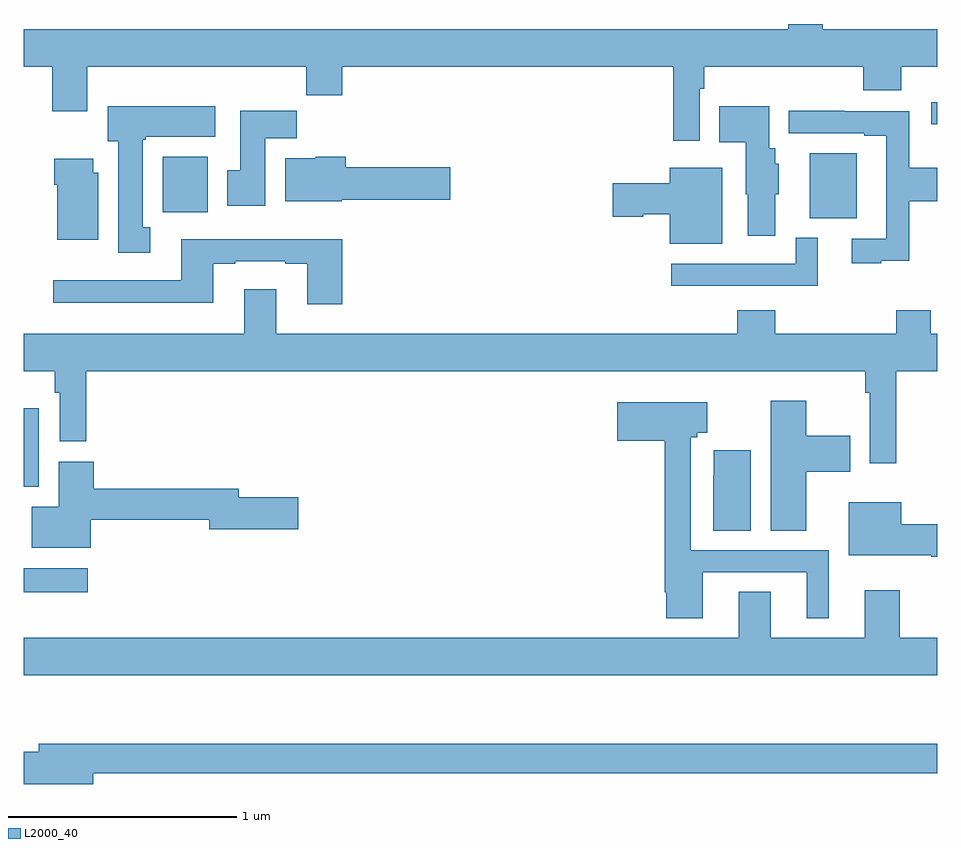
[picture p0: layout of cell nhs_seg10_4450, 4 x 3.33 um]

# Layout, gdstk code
import gdstk
lib = gdstk.Library(unit=1e-6, precision=1e-09)
def R(c, l, rs):  # rectangles x0, y0, x1, y1
    for r in rs: c.add(gdstk.rectangle(r[:2], r[2:], *l))
def P(c, l, *ps):  # polygons
    for p in ps: c.add(gdstk.Polygon(p, *l))
L2000_40 = (2000, 40)

nhs_seg10_4450 = lib.new_cell('nhs_seg10_4450')
R(nhs_seg10_4450, L2000_40, [(363,1302.011,363.28,1302.115), (363,1302.474,363.064,1302.817), (366.443,1303.649,366.649,1303.933), (363.608,1303.676,363.805,1303.918), (366.975,1304.06,367,1304.158)])
P(nhs_seg10_4450, L2000_40, [(365.961,1304.216),(365.981,1304.216),(365.981,1304.312),(366.677,1304.312),(366.677,1304.21),(366.842,1304.21),(366.842,1304.312),(367,1304.312),(367,1304.476),(366.499,1304.476),(366.499,1304.5),(366.347,1304.5),(366.347,1304.476),(363,1304.476),(363,1304.312),(363.125,1304.312),(363.125,1304.118),(363.277,1304.118),(363.277,1304.312),(364.237,1304.312),(364.237,1304.188),(364.394,1304.188),(364.394,1304.312),(365.845,1304.312),(365.845,1303.989),(365.961,1303.989)],
  [(366.292,1303.755),(366.307,1303.755),(366.307,1303.887),(366.292,1303.887),(366.292,1303.956),(366.265,1303.956),(366.265,1304.14),(366.046,1304.14),(366.046,1303.982),(366.161,1303.982),(366.161,1303.755),(366.17,1303.755),(366.17,1303.572),(366.292,1303.572)],
  [(363.553,1303.61),(363.52,1303.61),(363.52,1303.993),(363.534,1303.993),(363.534,1304.006),(363.838,1304.006),(363.838,1304.14),(363.368,1304.14),(363.368,1303.986),(363.413,1303.986),(363.413,1303.497),(363.553,1303.497)],
  [(366.755,1303.463),(366.878,1303.463),(366.878,1303.723),(367,1303.723),(367,1303.87),(366.878,1303.87),(366.878,1304.118),(366.593,1304.118),(366.593,1304.12),(366.351,1304.12),(366.351,1304.022),(366.68,1304.022),(366.68,1304.01),(366.777,1304.01),(366.777,1303.56),(366.627,1303.56),(366.627,1303.452),(366.755,1303.452)],
  [(364.057,1304),(364.196,1304),(364.196,1304.119),(363.947,1304.119),(363.947,1303.86),(363.89,1303.86),(363.89,1303.704),(364.057,1303.704)],
  [(364.392,1303.73),(364.867,1303.73),(364.867,1303.872),(364.409,1303.872),(364.409,1303.918),(364.278,1303.918),(364.278,1303.912),(364.145,1303.912),(364.145,1303.724),(364.392,1303.724)],
  [(363.325,1303.848),(363.304,1303.848),(363.304,1303.909),(363.134,1303.909),(363.134,1303.796),(363.146,1303.796),(363.146,1303.556),(363.325,1303.556)],
  [(366.058,1303.87),(365.828,1303.87),(365.828,1303.802),(365.58,1303.802),(365.58,1303.655),(365.712,1303.655),(365.712,1303.667),(365.828,1303.667),(365.828,1303.538),(366.058,1303.538)],
  [(366.478,1303.564),(366.381,1303.564),(366.381,1303.449),(365.835,1303.449),(365.835,1303.353),(366.478,1303.353)],
  [(364.394,1303.558),(363.689,1303.558),(363.689,1303.377),(363.129,1303.377),(363.129,1303.28),(363.829,1303.28),(363.829,1303.449),(363.925,1303.449),(363.925,1303.461),(364.145,1303.461),(364.145,1303.449),(364.241,1303.449),(364.241,1303.272),(364.394,1303.272)],
  [(366.821,1302.98),(367,1302.98),(367,1303.144),(366.973,1303.144),(366.973,1303.246),(366.821,1303.246),(366.821,1303.144),(366.29,1303.144),(366.29,1303.246),(366.125,1303.246),(366.125,1303.144),(364.105,1303.144),(364.105,1303.339),(363.965,1303.339),(363.965,1303.144),(363,1303.144),(363,1302.98),(363.136,1302.98),(363.136,1302.884),(363.156,1302.884),(363.156,1302.672),(363.272,1302.672),(363.272,1302.98),(366.685,1302.98),(366.685,1302.884),(366.705,1302.884),(366.705,1302.576),(366.821,1302.576)],
  [(366.427,1302.539),(366.62,1302.539),(366.62,1302.697),(366.427,1302.697),(366.427,1302.85),(366.272,1302.85),(366.272,1302.28),(366.427,1302.28)],
  [(365.974,1302.099),(366.428,1302.099),(366.428,1301.898),(366.526,1301.898),(366.526,1302.195),(365.922,1302.195),(365.922,1302.69),(365.95,1302.69),(365.95,1302.709),(365.993,1302.709),(365.993,1302.844),(365.598,1302.844),(365.598,1302.674),(365.806,1302.674),(365.806,1302.01),(365.813,1302.01),(365.813,1301.898),(365.974,1301.898)],
  [(366.184,1302.634),(366.022,1302.634),(366.022,1302.521),(366.02,1302.521),(366.02,1302.28),(366.184,1302.28)],
  [(363.292,1302.328),(363.812,1302.328),(363.812,1302.286),(364.201,1302.286),(364.201,1302.428),(363.94,1302.428),(363.94,1302.464),(363.305,1302.464),(363.305,1302.583),(363.152,1302.583),(363.152,1302.385),(363.035,1302.385),(363.035,1302.206),(363.292,1302.206)],
  [(367,1302.308),(366.844,1302.308),(366.844,1302.406),(366.614,1302.406),(366.614,1302.173),(366.974,1302.173),(366.974,1302.166),(367,1302.166)],
  [(367,1301.812),(366.836,1301.812),(366.836,1302.019),(366.683,1302.019),(366.683,1301.812),(366.271,1301.812),(366.271,1302.014),(366.131,1302.014),(366.131,1301.812),(363,1301.812),(363,1301.648),(367,1301.648)],
  [(363.304,1301.218),(367,1301.218),(367,1301.347),(363.065,1301.347),(363.065,1301.313),(363,1301.313),(363,1301.171),(363.304,1301.171)])

lib.write_gds('nhs_seg10_4450.gds')
